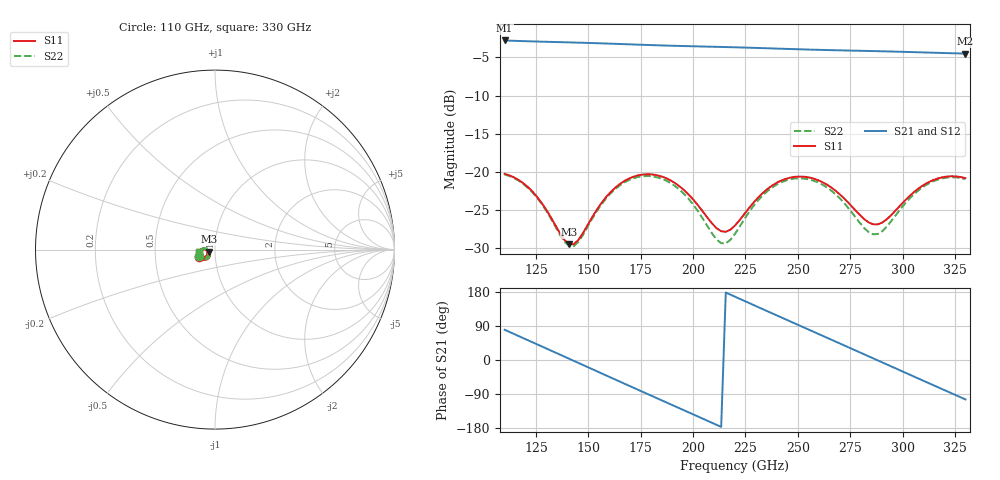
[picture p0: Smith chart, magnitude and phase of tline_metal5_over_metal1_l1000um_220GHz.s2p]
#  GHZ S DB R 50
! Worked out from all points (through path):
!   101 points, 110 GHz to 330 GHz, reference 50 ohm
!   highest |S21| = -2.79 dB at 110 GHz (marker M1); lowest = -4.5 dB at 330 GHz (marker M2)
!   group delay of S21, straight-line fit = 6.87 ps
!   lowest |S11| = -29.5 dB at 140.8 GHz (marker M3), VSWR 1.07, Z = 46.9 - j1.12 ohm
!   |S11| at or under -10 dB: start of sweep to end of sweep
!   |S22| runs from -29.7 to -20.3 dB; largest |S21 - S12| = 7.6e-14
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110  -20.25 -155.9  -2.79 79.8  -2.79 79.8  -20.33 -156.8
118.8  -21.45 -171.1  -2.88 58.0  -2.88 58.0  -21.54 -172.1
127.6  -24.01 178.8  -2.95 36.1  -2.95 36.1  -24.13 177.5
140.8  -29.45 -159.2  -3.04 3.3  -3.04 3.3  -29.70 -160.7
147.4  -28.01 -133.2  -3.09 -13.1  -3.09 -13.1  -28.23 -134.2
156.2  -24.08 -126.9  -3.17 -35.1  -3.17 -35.1  -24.25 -128.1
167.2  -21.18 -139.2  -3.27 -62.4  -3.27 -62.4  -21.36 -140.9
176  -20.33 -152.9  -3.36 -84.2  -3.36 -84.2  -20.55 -155.2
184.8  -20.57 -166.8  -3.44 -105.9  -3.44 -105.9  -20.86 -169.7
193.6  -21.90 -178.5  -3.51 -127.6  -3.51 -127.6  -22.33 177.8
204.6  -25.16 177.0  -3.58 -154.8  -3.58 -154.8  -26.09 172.5
213.4  -27.75 -165.9  -3.64 -176.6  -3.64 -176.6  -29.32 -166.0
220  -27.01 -146.3  -3.69 167.1  -3.69 167.1  -28.10 -141.6
228.8  -24.03 -138.2  -3.76 145.2  -3.76 145.2  -24.46 -134.2
239.8  -21.44 -146.7  -3.85 118.0  -3.85 118.0  -21.67 -144.8
248.6  -20.64 -158.3  -3.93 96.4  -3.93 96.4  -20.86 -157.6
257.4  -20.85 -170.2  -4.00 74.7  -4.00 74.7  -21.13 -170.5
277.2  -24.93 178.0  -4.13 26.0  -4.13 26.0  -25.80 176.2
286  -26.85 -166.6  -4.18 4.3  -4.18 4.3  -28.16 -164.4
294.8  -25.59 -147.4  -4.24 -17.4  -4.24 -17.4  -26.36 -141.5
312.4  -21.34 -150.9  -4.38 -60.8  -4.38 -60.8  -21.51 -147.1
330  -20.80 -172.3  -4.51 -104.0  -4.51 -104.0  -20.93 -170.2
